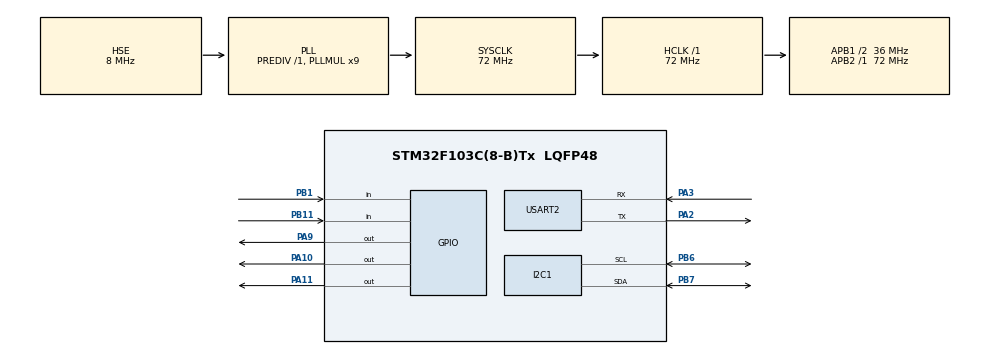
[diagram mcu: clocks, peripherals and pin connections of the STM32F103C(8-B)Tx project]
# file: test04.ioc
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I2C1.I2C_Mode=I2C_Fast
Mcu.Family=STM32F1
Mcu.Name=STM32F103C(8-B)Tx
Mcu.Package=LQFP48
NVIC.PriorityGroup=NVIC_PRIORITYGROUP_4
NVIC.USART2_IRQn=true\:0\:0\:false\:false\:true\:true\:true\:true
PA10.Signal=GPIO_Output
PA11.Signal=GPIO_Output
PA13.Mode=Serial_Wire
PA13.Signal=SYS_JTMS-SWDIO
PA14.Mode=Serial_Wire
PA14.Signal=SYS_JTCK-SWCLK
PA2.Mode=Asynchronous
PA2.Signal=USART2_TX
PA3.Mode=Asynchronous
PA3.Signal=USART2_RX
PA9.Signal=GPIO_Output
PB1.GPIO_PuPd=GPIO_PULLUP
PB1.Signal=GPIO_Input
PB11.GPIO_PuPd=GPIO_PULLUP
PB11.Signal=GPIO_Input
PB6.Mode=I2C
PB6.Signal=I2C1_SCL
PB7.Mode=I2C
PB7.Signal=I2C1_SDA
PC14-OSC32_IN.Mode=LSE-External-Oscillator
PC14-OSC32_IN.Signal=RCC_OSC32_IN
PC15-OSC32_OUT.Mode=LSE-External-Oscillator
PC15-OSC32_OUT.Signal=RCC_OSC32_OUT
PD0-OSC_IN.Mode=HSE-External-Oscillator
PD0-OSC_IN.Signal=RCC_OSC_IN
PD1-OSC_OUT.Mode=HSE-External-Oscillator
PD1-OSC_OUT.Signal=RCC_OSC_OUT
ProjectManager.HeapSize=0x200
ProjectManager.StackSize=0x400
ProjectManager.TargetToolchain=STM32CubeIDE
RCC.AHBFreq_Value=72000000
RCC.APB1CLKDivider=RCC_HCLK_DIV2
RCC.APB1Freq_Value=36000000
RCC.APB1TimFreq_Value=72000000
RCC.APB2Freq_Value=72000000
RCC.APB2TimFreq_Value=72000000
RCC.HCLKFreq_Value=72000000
RCC.PLLMUL=RCC_PLL_MUL9
RCC.PLLSourceVirtual=RCC_PLLSOURCE_HSE
RCC.SYSCLKFreq_VALUE=72000000
RCC.SYSCLKSource=RCC_SYSCLKSOURCE_PLLCLK
RCC.USBFreq_Value=72000000
USART2.VirtualMode=VM_ASYNC
board=custom

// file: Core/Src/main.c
/* USER CODE BEGIN Header */
/**
  ******************************************************************************
  * @file           : main.c
  * @brief          : Main program body
  ******************************************************************************
  * @attention
  *
  * Copyright (c) 2026 STMicroelectronics.
  * All rights reserved.
  *
  * This software is licensed under terms that can be found in the LICENSE file
  * in the root directory of this software component.
  * If no LICENSE file comes with this software, it is provided AS-IS.
  *
  ******************************************************************************
  */
/* USER CODE END Header */
#include "main.h"
#include "i2c.h"
#include "usart.h"
#include "gpio.h"

/* USER CODE BEGIN Includes */
#include "led.h"
#include "key.h"
#include "uart_protocol.h"
#include "OLED.h"
/* USER CODE END Includes */

/* USER CODE BEGIN PV */
static Key_t key_run;
static Key_t key_dir;
static uint32_t last_oled_tick = 0;
/* USER CODE END PV */

void SystemClock_Config(void);

int main(void)
{

  /* MCU Configuration--------------------------------------------------------*/

  /* Reset of all peripherals, Initializes the Flash interface and the Systick. */
  HAL_Init();

  /* Configure the system clock */
  SystemClock_Config();

  /* Initialize all configured peripherals */
  MX_GPIO_Init();
  MX_I2C1_Init();
  MX_USART2_UART_Init();
  /* USER CODE BEGIN 2 */
  Key_Init(&key_run, GPIOB, GPIO_PIN_11, 1);
  Key_Init(&key_dir, GPIOB, GPIO_PIN_1,  1);
  UART_Protocol_Init();
  OLED_Init();
  /* USER CODE END 2 */

  /* Infinite loop */
  while (1)
  {

    /* USER CODE BEGIN 3 */
    uint32_t now = HAL_GetTick();

    if (Key_Scan(&key_run, now) == KEY_EVENT_PRESS) {
      LED_Key_ToggleRun();
      UART_Send_Feedback();
    }
    if (Key_Scan(&key_dir, now) == KEY_EVENT_PRESS) {
      LED_Key_ToggleDir();
      UART_Send_Feedback();
    }

    UART_Protocol_Task();
    LED_Task();

    if (now - last_oled_tick >= 100) {
      last_oled_tick = now;
      OLED_Update_Display(LED_Get_State(), LED_Get_Dir(),
                          LED_Get_Step(), LED_Get_Pos());
    }
    // uint32_t now = HAL_GetTick();
    //
    // if (Key_Scan(&key_run, now) == KEY_EVENT_PRESS) LED_Key_ToggleRun();
    // if (Key_Scan(&key_dir, now) == KEY_EVENT_PRESS) LED_Key_ToggleDir();
    //
    // LED_Task();
    // uint32_t last_key_tick = 0;
    // uint32_t now = HAL_GetTick();
    //
    // if (now - last_key_tick >= 10)
    // {
    //   last_key_tick = now;
    //
    //   if (Key_Scan(&key_run, now) == KEY_EVENT_PRESS) LED_Key_ToggleRun();
    //   if (Key_Scan(&key_dir, now) == KEY_EVENT_PRESS) LED_Key_ToggleDir();
    // }
    //
    // if (Key_Scan(&key_run, now) == KEY_EVENT_PRESS) {
    //   LED_Key_ToggleRun();
    //   UART_Send_Feedback();
    // }
    // if (Key_Scan(&key_dir, now) == KEY_EVENT_PRESS) {
    //   LED_Key_ToggleDir();
    //   UART_Send_Feedback();
    // }
    //
    // UART_Protocol_Task();
    // LED_Task();
    //
    //
    // static uint32_t last_oled_tick = 0;
    // if (now - last_oled_tick >= 100) {
    //   last_oled_tick = now;
    //
    //   uint8_t st = LED_Get_State();
    //   uint8_t d  = LED_Get_Dir();
    //   uint16_t sp= LED_Get_Step();
    //   uint8_t p  = LED_Get_Pos();
    //
    //   OLED_Update_Display(st, d, sp, p);
    // }
  }
}
  /* USER CODE END 3 */

void SystemClock_Config(void)
{
  RCC_OscInitTypeDef RCC_OscInitStruct = {0};
  RCC_ClkInitTypeDef RCC_ClkInitStruct = {0};

  /** Initializes the RCC Oscillators according to the specified parameters
  * in the RCC_OscInitTypeDef structure.
  */
  RCC_OscInitStruct.OscillatorType = RCC_OSCILLATORTYPE_HSE;
  RCC_OscInitStruct.HSEState = RCC_HSE_ON;
  RCC_OscInitStruct.HSEPredivValue = RCC_HSE_PREDIV_DIV1;
  RCC_OscInitStruct.HSIState = RCC_HSI_ON;
  RCC_OscInitStruct.PLL.PLLState = RCC_PLL_ON;
  RCC_OscInitStruct.PLL.PLLSource = RCC_PLLSOURCE_HSE;
  RCC_OscInitStruct.PLL.PLLMUL = RCC_PLL_MUL9;
  if (HAL_RCC_OscConfig(&RCC_OscInitStruct) != HAL_OK)
  {
    Error_Handler();
  }

  /** Initializes the CPU, AHB and APB buses clocks
  */
  RCC_ClkInitStruct.ClockType = RCC_CLOCKTYPE_HCLK|RCC_CLOCKTYPE_SYSCLK
                              |RCC_CLOCKTYPE_PCLK1|RCC_CLOCKTYPE_PCLK2;
  RCC_ClkInitStruct.SYSCLKSource = RCC_SYSCLKSOURCE_PLLCLK;
  RCC_ClkInitStruct.AHBCLKDivider = RCC_SYSCLK_DIV1;
  RCC_ClkInitStruct.APB1CLKDivider = RCC_HCLK_DIV2;
  RCC_ClkInitStruct.APB2CLKDivider = RCC_HCLK_DIV1;

  if (HAL_RCC_ClockConfig(&RCC_ClkInitStruct, FLASH_LATENCY_2) != HAL_OK)
  {
    Error_Handler();
  }
}

void Error_Handler(void)
{
  __disable_irq();
  while (1)
  {
  }
}
